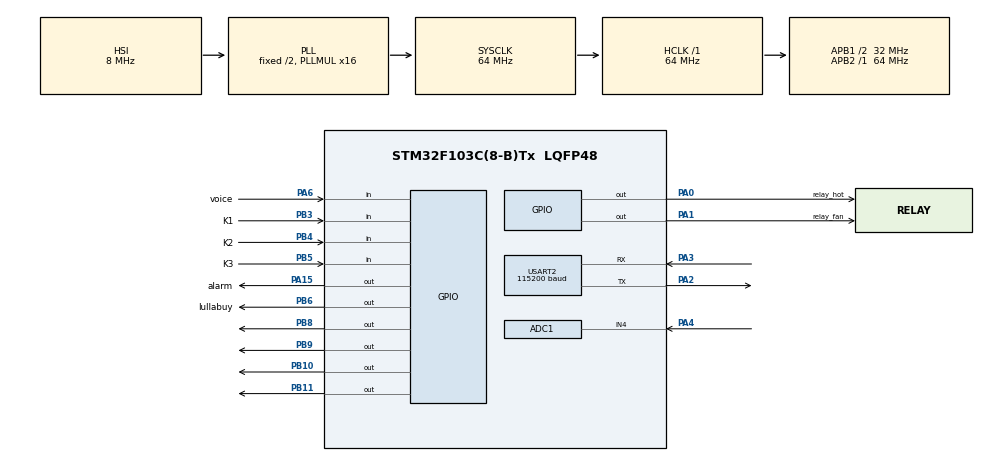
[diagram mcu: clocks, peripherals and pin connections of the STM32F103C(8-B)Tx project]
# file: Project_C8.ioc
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ADC1.Channel-0\#ChannelRegularConversion=ADC_CHANNEL_4
ADC1.NbrOfConversionFlag=1
ADC1.Rank-0\#ChannelRegularConversion=1
ADC1.SamplingTime-0\#ChannelRegularConversion=ADC_SAMPLETIME_239CYCLES_5
ADC1.master=1
Mcu.Family=STM32F1
Mcu.Name=STM32F103C(8-B)Tx
Mcu.Package=LQFP48
NVIC.PriorityGroup=NVIC_PRIORITYGROUP_4
NVIC.TIM1_UP_IRQn=true\:0\:0\:false\:false\:true\:true\:true\:true
NVIC.USART2_IRQn=true\:0\:0\:false\:false\:true\:true\:true\:true
PA0-WKUP.GPIO_Label=relay_hot
PA0-WKUP.GPIO_Speed=GPIO_SPEED_FREQ_HIGH
PA0-WKUP.Signal=GPIO_Output
PA1.GPIO_Label=relay_fan
PA1.GPIO_Speed=GPIO_SPEED_FREQ_HIGH
PA1.Signal=GPIO_Output
PA13.Mode=Serial_Wire
PA13.Signal=SYS_JTMS-SWDIO
PA14.Mode=Serial_Wire
PA14.Signal=SYS_JTCK-SWCLK
PA15.GPIO_Label=alarm
PA15.GPIO_ModeDefaultOutputPP=GPIO_MODE_OUTPUT_PP
PA15.GPIO_PuPd=GPIO_NOPULL
PA15.GPIO_Speed=GPIO_SPEED_FREQ_HIGH
PA15.PinState=GPIO_PIN_RESET
PA15.Signal=GPIO_Output
PA2.Mode=Asynchronous
PA2.Signal=USART2_TX
PA3.Mode=Asynchronous
PA3.Signal=USART2_RX
PA4.Signal=ADCx_IN4
PA6.GPIO_Label=voice
PA6.GPIO_PuPd=GPIO_PULLUP
PA6.Signal=GPIO_Input
PB10.GPIO_Speed=GPIO_SPEED_FREQ_HIGH
PB10.Signal=GPIO_Output
PB11.GPIO_Speed=GPIO_SPEED_FREQ_HIGH
PB11.Signal=GPIO_Output
PB3.GPIO_Label=K1
PB3.GPIO_Mode=GPIO_MODE_INPUT
PB3.GPIO_PuPd=GPIO_PULLUP
PB3.Signal=GPIO_Input
PB4.GPIO_Label=K2
PB4.GPIO_Mode=GPIO_MODE_INPUT
PB4.GPIO_PuPd=GPIO_PULLUP
PB4.Signal=GPIO_Input
PB5.GPIO_Label=K3
PB5.GPIO_Mode=GPIO_MODE_INPUT
PB5.GPIO_PuPd=GPIO_PULLUP
PB5.Signal=GPIO_Input
PB6.GPIO_Label=lullabuy
PB6.GPIO_Speed=GPIO_SPEED_FREQ_HIGH
PB6.PinState=GPIO_PIN_SET
PB6.Signal=GPIO_Output
PB8.GPIO_Speed=GPIO_SPEED_FREQ_HIGH
PB8.Signal=GPIO_Output
PB9.GPIO_Speed=GPIO_SPEED_FREQ_HIGH
PB9.Signal=GPIO_Output
ProjectManager.HeapSize=0x200
ProjectManager.StackSize=0x400
ProjectManager.TargetToolchain=MDK-ARM V5.27
RCC.ADCPresc=RCC_ADCPCLK2_DIV6
RCC.AHBFreq_Value=64000000
RCC.APB1CLKDivider=RCC_HCLK_DIV2
RCC.APB1Freq_Value=32000000
RCC.APB1TimFreq_Value=64000000
RCC.APB2Freq_Value=64000000
RCC.APB2TimFreq_Value=64000000
RCC.FLatency=FLASH_LATENCY_2
RCC.HCLKFreq_Value=64000000
RCC.PLLMUL=RCC_PLL_MUL16
RCC.SYSCLKFreq_VALUE=64000000
RCC.SYSCLKSource=RCC_SYSCLKSOURCE_PLLCLK
RCC.USBFreq_Value=64000000
SH.ADCx_IN4.0=ADC1_IN4,IN4
TIM1.AutoReloadPreload=TIM_AUTORELOAD_PRELOAD_DISABLE
TIM1.ClockDivision=TIM_CLOCKDIVISION_DIV1
TIM1.CounterMode=TIM_COUNTERMODE_UP
TIM1.Period=999
TIM1.Prescaler=63
TIM1.RepetitionCounter=0
TIM1.TIM_MasterOutputTrigger=TIM_TRGO_RESET
TIM1.TIM_MasterSlaveMode=TIM_MASTERSLAVEMODE_DISABLE
USART2.BaudRate=115200
USART2.Mode=MODE_TX_RX
USART2.Parity=PARITY_NONE
USART2.StopBits=STOPBITS_1
USART2.VirtualMode=VM_ASYNC
USART2.WordLength=WORDLENGTH_8B
VP_TIM1_VS_ClockSourceINT.Mode=Internal
board=custom

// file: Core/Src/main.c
/* USER CODE BEGIN Header */
/**
  ******************************************************************************
  * @file           : main.c
  * @brief          : Main program body
  ******************************************************************************
  * @attention
  *
  * Copyright (c) 2022 STMicroelectronics.
  * All rights reserved.
  *
  * This software is licensed under terms that can be found in the LICENSE file
  * in the root directory of this software component.
  * If no LICENSE file comes with this software, it is provided AS-IS.
  *
  ******************************************************************************
  */
/* USER CODE END Header */
#include "main.h"
#include "adc.h"
#include "tim.h"
#include "usart.h"
#include "gpio.h"

/* USER CODE BEGIN Includes */
#include "./HAL/key/key.h"
#include "./HAL/OLED/OLED_NEW.H"
#include "./HAL/delay/delay.h"
#include "./HAL/AliESP8266/AliESP8266.h"
#include "./HAL/ds18b20/ds18b20.h"

/* USER CODE END Includes */

/* USER CODE BEGIN PTD */
void Key_function(void);								//按键函数
void Monitor_function(void);						//监测函数
void Display_function(void);						//显示函数
/* USER CODE END PTD */

/* USER CODE BEGIN PD */

uint8_t USART2_TX_BUF[255];
#define u2_printf(...)  HAL_UART_Transmit(&huart2,USART2_TX_BUF,sprintf((char *)USART2_TX_BUF,__VA_ARGS__),0xffff)

/* USER CODE END PD */

/* USER CODE BEGIN PV */
uint8_t key_num,flag_display;        	  //按键与显示变量
uint16_t time_1ms,time_500ms;         	//计时变量1ms,500ms

uint8_t Motor_Status;									//步进电机状态变量
uint16_t Motor_Num;										//步进电机计数变量
uint16_t Motor_Time;									//步进电机计时变量
uint8_t const Motor_Buf[8] = {0x01, 0x03, 0x02, 0x06, 0x04, 0x0c, 0x08, 0x09};//步进电机步数数组
uint8_t flag_moto;										//标志位
uint16_t body_temp;										//体温
uint16_t adc_value,humi;				      //ADC值，湿度变量

uint8_t mode,hot_flag,fan_flag;
uint8_t crib_flag;                      //婴儿床标志位
uint8_t beep_temp,beep_humi;

uint16_t time_1,flag_1,time_2,flag_2;         			//计时变量

/* USER CODE END PV */

void SystemClock_Config(void);

/* USER CODE BEGIN 0 */

/****
*******按键设置函数
*****/
void Key_function(void)
{
	key_num = Chiclet_Keyboard_Scan();		//按键扫描
	if(key_num != 0)			                //有按键按下
	{

	}
}

/****
*******监测函数
*****/
void Monitor_function(void)
{
  uint16_t temp_init;
	if(time_500ms == 1)
	{
		time_500ms = 0;
    if(body_temp < 1000)
      temp_init = body_temp;
		body_temp=Ds18b20_Read_Temp();
    if(body_temp > 1000)
      body_temp = temp_init;

	}

  if(voice == 0 || (crib_flag == 1 && mode == 1)) //检测到哭声，或手动控制婴儿床的标志位为1，婴儿床自动摇篮
  {
    Motor_Status |= 0x81;
  }

  if(mode == 0)                         //自动模式时
  {
     hot_flag = 1;
      fan_flag = 0;
      beep_temp = 1;
  }
  else
  {
    beep_temp = 0;
  }

  relay_fan(fan_flag);
  relay_hot(hot_flag);

}

/****
*******显示函数
*****/
void Display_function(void)						//显示体温、模式、是否尿床、是否听到哭声
{
	Oled_ShowCHinese(0,0,(uint8_t *)"模式");
	Oled_ShowString(32,0,(uint8_t *)":");
	if(mode == 0)
		Oled_ShowCHinese(40,0,(uint8_t *)"自动");
	else
		Oled_ShowCHinese(40,0,(uint8_t *)"手动");

}

/* USER CODE END 0 */

int main(void)
{

  /* MCU Configuration--------------------------------------------------------*/

  /* Reset of all peripherals, Initializes the Flash interface and the Systick. */
  HAL_Init();

  /* Configure the system clock */
  SystemClock_Config();

  /* Initialize all configured peripherals */
  MX_GPIO_Init();
  MX_TIM1_Init();
  MX_USART2_UART_Init();
  MX_ADC1_Init();
  /* USER CODE BEGIN 2 */
  HAL_TIM_Base_Start_IT(&htim1);
  HAL_UART_Receive_IT(&Huart_wifi, &uartwifi_value, 1);

  /* USER CODE END 2 */

  /* Infinite loop */
  /* USER CODE BEGIN WHILE */

  while (1)
  {
    Key_function();											//按键函数
		Monitor_function();									//监测函数
		Display_function();									//显示函数
    Ali_MQTT_Recevie();                 //接收数据
    /* USER CODE END WHILE */

  }
}

void SystemClock_Config(void)
{
  RCC_OscInitTypeDef RCC_OscInitStruct = {0};
  RCC_ClkInitTypeDef RCC_ClkInitStruct = {0};
  RCC_PeriphCLKInitTypeDef PeriphClkInit = {0};

  /** Initializes the RCC Oscillators according to the specified parameters
  * in the RCC_OscInitTypeDef structure.
  */
  RCC_OscInitStruct.OscillatorType = RCC_OSCILLATORTYPE_HSI;
  RCC_OscInitStruct.HSIState = RCC_HSI_ON;
  RCC_OscInitStruct.HSICalibrationValue = RCC_HSICALIBRATION_DEFAULT;
  RCC_OscInitStruct.PLL.PLLState = RCC_PLL_ON;
  RCC_OscInitStruct.PLL.PLLSource = RCC_PLLSOURCE_HSI_DIV2;
  RCC_OscInitStruct.PLL.PLLMUL = RCC_PLL_MUL16;
  if (HAL_RCC_OscConfig(&RCC_OscInitStruct) != HAL_OK)
  {
    Error_Handler();
  }

  /** Initializes the CPU, AHB and APB buses clocks
  */
  RCC_ClkInitStruct.ClockType = RCC_CLOCKTYPE_HCLK|RCC_CLOCKTYPE_SYSCLK
                              |RCC_CLOCKTYPE_PCLK1|RCC_CLOCKTYPE_PCLK2;
  RCC_ClkInitStruct.SYSCLKSource = RCC_SYSCLKSOURCE_PLLCLK;
  RCC_ClkInitStruct.AHBCLKDivider = RCC_SYSCLK_DIV1;
  RCC_ClkInitStruct.APB1CLKDivider = RCC_HCLK_DIV2;
  RCC_ClkInitStruct.APB2CLKDivider = RCC_HCLK_DIV1;

  if (HAL_RCC_ClockConfig(&RCC_ClkInitStruct, FLASH_LATENCY_2) != HAL_OK)
  {
    Error_Handler();
  }
  PeriphClkInit.PeriphClockSelection = RCC_PERIPHCLK_ADC;
  PeriphClkInit.AdcClockSelection = RCC_ADCPCLK2_DIV6;
  if (HAL_RCCEx_PeriphCLKConfig(&PeriphClkInit) != HAL_OK)
  {
    Error_Handler();
  }
}

/* USER CODE BEGIN 4 */

void HAL_TIM_PeriodElapsedCallback(TIM_HandleTypeDef *htim)
{
	if(htim->Instance == htim1.Instance)		//定时器1触发中断
	{
		time_1ms++;
		if(time_1ms>= 500)
		{
			time_1ms= 0;
			time_500ms = 1;
		}

		time_1++;
		if(time_1>= 1000)
		{
			time_1= 0;
			flag_1 = 1;											//1s标志位
		}
		time_2++;
		if(time_2>= 1400)
		{
			time_2= 0;
			flag_2 = 1;											//1.4s标志位
		}

    //1ms定时器中
    if(Motor_Status & 0x80)						//步进电机转动
		{
			if(Motor_Status & 0x01)
				Motor_Num++;
      else
				Motor_Num--;
			if(Motor_Num >= 256*8)
			{
				Motor_Status &= ~0x80;
        flag_moto=0;
			}
			GPIOB->ODR &= 0xf0ff;           //引脚状态
			GPIOB->ODR |= Motor_Buf[Motor_Num%8] << 8;
		}
    if(Motor_Status & 0x01)//延时
		{
			Motor_Time++;
			if(Motor_Time >= 1500)
			{
				Motor_Time = 0;
        Motor_Status &= ~0x01;
				Motor_Status |= 0x80;

			}
		}

	}
}

void HAL_UART_RxCpltCallback(UART_HandleTypeDef *huart)
{
  if(huart->Instance == Huart_wifi.Instance)//串口触发中断
	{
    if(huart->Instance == Huart_wifi.Instance)//串口触发
    {
      HAL_UART_Receive_IT(&Huart_wifi, &uartwifi_value, 1);
      if(ESP8266_cnt >= sizeof(ESP8266_buf))	ESP8266_cnt = 0; //防止串口被刷爆
      ESP8266_buf[ESP8266_cnt++] = uartwifi_value;
    }
	}
}
/* USER CODE END 4 */

void Error_Handler(void)
{
  __disable_irq();
  while (1)
  {
  }
}
